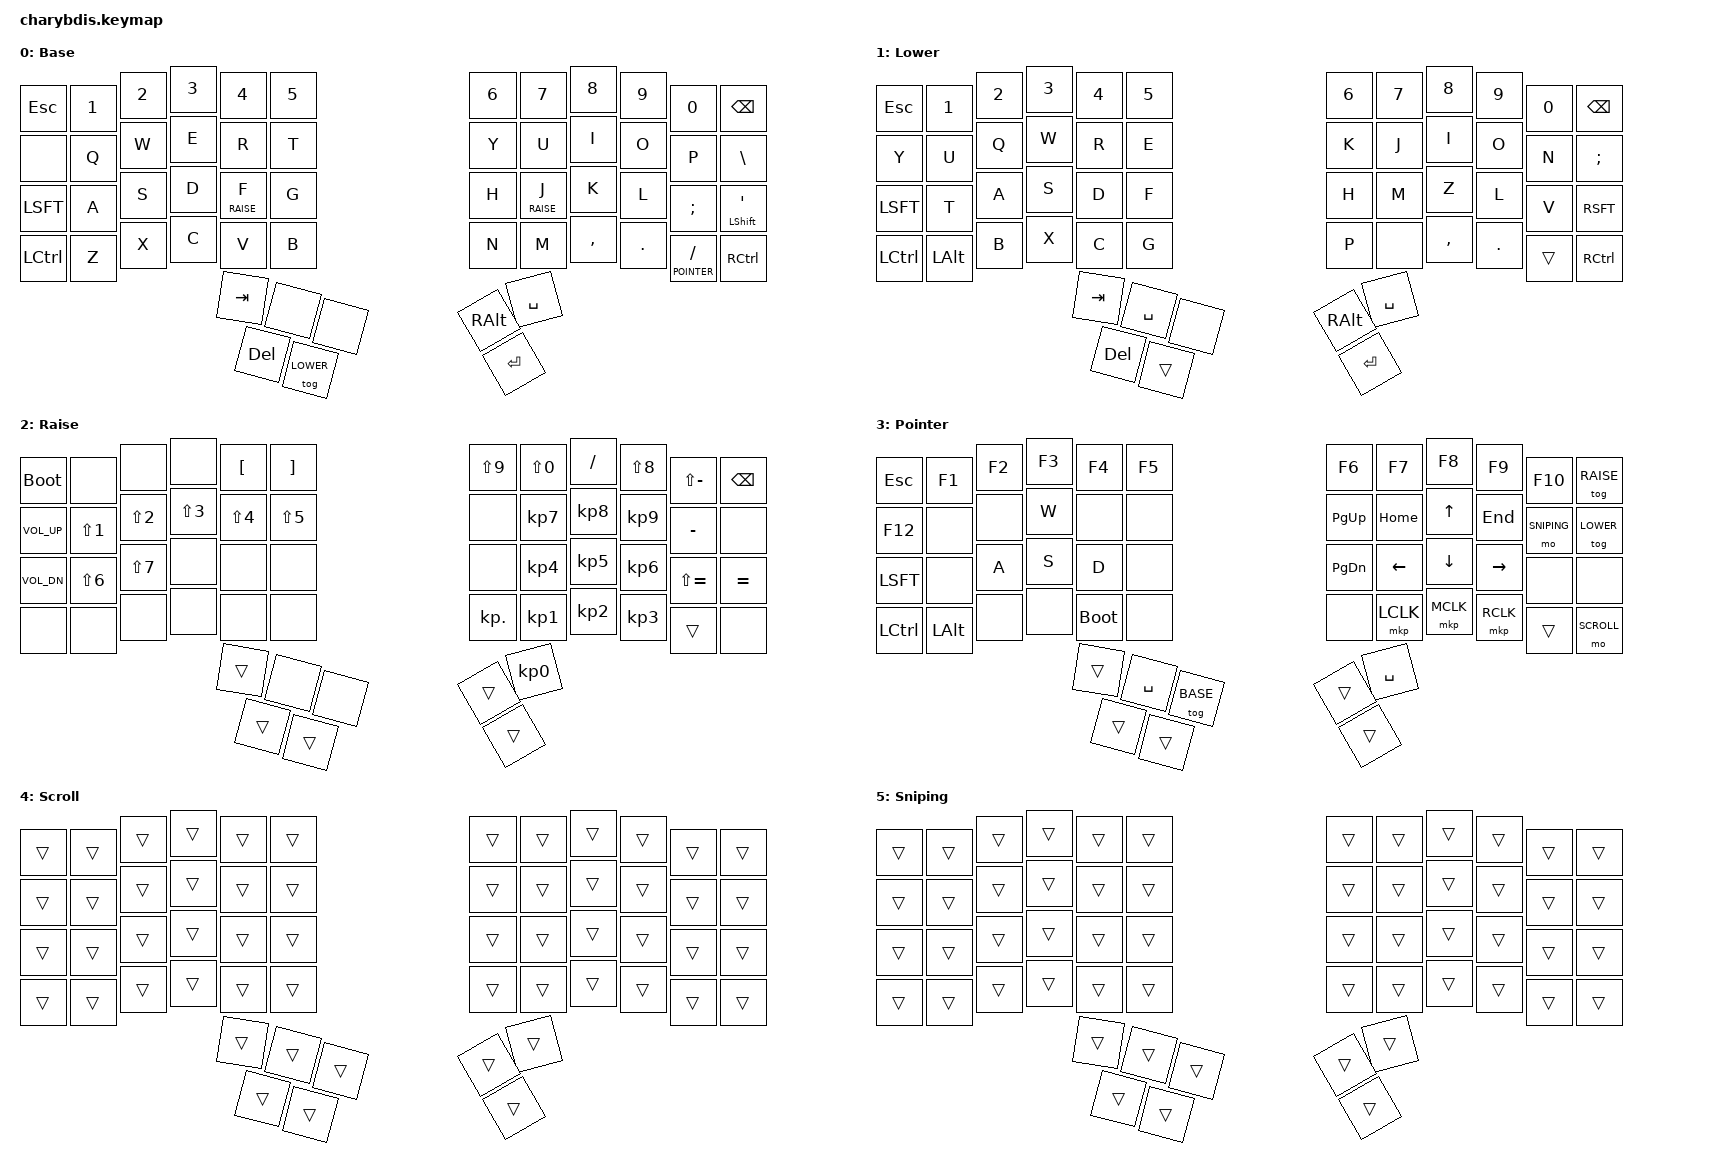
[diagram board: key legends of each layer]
#include <dt-bindings/zmk/mouse.h>
#include <behaviors/mouse_keys.dtsi>
#include <behaviors.dtsi>
#include <dt-bindings/zmk/bt.h>
#include <dt-bindings/zmk/keys.h>
#include <dt-bindings/zmk/outputs.h>
#include <dt-bindings/zmk/pointing.h>

/ {
    chosen { zmk,physical-layout = &charybdis_6col_layout; };
};

// Layer-tap behavior: Tap for key, hold for layer
// Usage: &lt LAYER KEY
// Example: &lt RAISE F = tap for F, hold for RAISE layer
&lt {
    quick-tap-ms = <200>;
    flavor = "tap-preferred";
    tapping-term-ms = <170>;
};

// Mod-tap behavior: Tap for key, hold for modifier
// Usage: &mt MODIFIER KEY
// Example: &mt LSHIFT SQT = tap for quote, hold for left shift
&mt {
    quick-tap-ms = <200>;
    flavor = "tap-preferred";
    tapping-term-ms = <170>;
};

// Layer definitions
#define BASE 0
#define LOWER 1
#define RAISE 2
#define POINTER 3
#define SCROLL 4
#define SNIPING 5

/ {
  combos {
    compatible = "zmk,combos";
    timeout-ms = <20>;
    require-prior-idle-ms = <250>;

    // Studio Unlock Combo - all three right thumb keys
    combo_studio_unlock {
      timeout-ms = <50>;
      key-positions = <53 54 55>;
      bindings = <&studio_unlock>;
    };
  };

  keymap {
    compatible = "zmk,keymap";

// ╭─────────────┬─────────────┬─────────────┬─────────────┬─────────────┬─────────────╮   ╭─────────────┬─────────────┬─────────────┬─────────────┬─────────────┬─────────────╮
//    0             1             2             3             4             5                 6             7             8             9            10            11
// ├─────────────┼─────────────┼─────────────┼─────────────┼─────────────┼─────────────┤   ├─────────────┼─────────────┼─────────────┼─────────────┼─────────────┼─────────────┤
//   12            13            14            15            16            17                18            19            20            21            22            23
// ├─────────────┼─────────────┼─────────────┼─────────────┼─────────────┼─────────────┤   ├─────────────┼─────────────┼─────────────┼─────────────┼─────────────┼─────────────┤
//   24            25            26            27            28            29                30            31            32            33            34            35
// ├─────────────┼─────────────┼─────────────┼─────────────┼─────────────┼─────────────┤   ├─────────────┼─────────────┼─────────────┼─────────────┼─────────────┼─────────────┤
//   36            37            38            39            40            41                42            43            44            45            46            47
// ╰─────────────┴─────────────┴─────────────┴─────────────┴─────────────┴─────────────╯   ╰─────────────┴─────────────┴─────────────┴─────────────┴─────────────┴─────────────╯
//               ╭─────────────┬─────────────┬─────────────┬─────────────┬─────────────╮   ╭─────────────┬─────────────┬─────────────╮
//                  48            49            50            51            52                53            54            55
//               ╰─────────────┴─────────────┴─────────────┴─────────────┴─────────────╯   ╰─────────────┴─────────────┴─────────────╯
//                                                                         Actual Key Positions
//                                          ╭─────────────┬─────────────┬─────────────╮    ╭─────────────┬─────────────╮
//                                             50           51            48                 55            54
//                                          ╰─────────────┼─────────────┼─────────────┤    ├─────────────┼─────────────╯
//                                                          52            49                 53
//                                                        ╰─────────────┴─────────────╯    ╰─────────────╯

    base_layer {
      label = "BASE";
      display-name = "Base";
      bindings = <
// ╭─────────────┬─────────────┬─────────────┬─────────────┬─────────────┬─────────────╮   ╭─────────────┬─────────────┬─────────────┬─────────────┬─────────────┬─────────────╮
    &kp ESC       &kp N1        &kp N2        &kp N3        &kp N4        &kp N5            &kp N6        &kp N7        &kp N8        &kp N9        &kp N0        &kp BSPC
// ├─────────────┼─────────────┼─────────────┼─────────────┼─────────────┼─────────────┤   ├─────────────┼─────────────┼─────────────┼─────────────┼─────────────┼─────────────┤
    &none         &kp Q         &kp W         &kp E         &kp R         &kp T             &kp Y         &kp U         &kp I         &kp O         &kp P         &kp BSLH
// ├─────────────┼─────────────┼─────────────┼─────────────┼─────────────┼─────────────┤   ├─────────────┼─────────────┼─────────────┼─────────────┼─────────────┼─────────────┤
//                                                            F/RAISE                                       J/RAISE                                                 '/Shift
    &kp LSFT      &kp A         &kp S         &kp D         &lt RAISE F   &kp G             &kp H         &lt RAISE J   &kp K         &kp L         &kp SEMI      &mt LSHIFT SQT
// ├─────────────┼─────────────┼─────────────┼─────────────┼─────────────┼─────────────┤   ├─────────────┼─────────────┼─────────────┼─────────────┼─────────────┼─────────────┤
//                                                                                                                                                     //POINTER
    &kp LCTRL     &kp Z         &kp X         &kp C         &kp V         &kp B             &kp N         &kp M         &kp COMMA     &kp DOT       &lt POINTER FSLH &kp RCTRL
// ╰─────────────┴─────────────┴─────────────┴─────────────┴─────────────┴─────────────╯   ╰─────────────┴─────────────┴─────────────┴─────────────┴─────────────┴─────────────╯
//               ╭─────────────┬─────────────┬─────────────┬─────────────┬─────────────╮   ╭─────────────┬─────────────┬─────────────╮
                  &none         &tog LOWER    &kp TAB       &none         &kp DEL           &kp RET       &kp SPACE     &kp RALT
//               ╰─────────────┴─────────────┴─────────────┴─────────────┴─────────────╯   ╰─────────────┴─────────────┴─────────────╯
      >;
    };

    lower_layer {
      label = "LOWER";
      display-name = "Lower";
      bindings = <
// ╭─────────────┬─────────────┬─────────────┬─────────────┬─────────────┬─────────────╮   ╭─────────────┬─────────────┬─────────────┬─────────────┬─────────────┬─────────────╮
    &kp ESC       &kp N1        &kp N2        &kp N3        &kp N4        &kp N5            &kp N6        &kp N7        &kp N8        &kp N9        &kp N0        &kp BSPC
// ├─────────────┼─────────────┼─────────────┼─────────────┼─────────────┼─────────────┤   ├─────────────┼─────────────┼─────────────┼─────────────┼─────────────┼─────────────┤
    &kp Y         &kp U         &kp Q         &kp W         &kp R         &kp E             &kp K         &kp J         &kp I         &kp O         &kp N         &kp SEMI
// ├─────────────┼─────────────┼─────────────┼─────────────┼─────────────┼─────────────┤   ├─────────────┼─────────────┼─────────────┼─────────────┼─────────────┼─────────────┤
    &kp LSFT      &kp T         &kp A         &kp S         &kp D         &kp F             &kp H         &kp M         &kp Z         &kp L         &kp V         &kp RSFT
// ├─────────────┼─────────────┼─────────────┼─────────────┼─────────────┼─────────────┤   ├─────────────┼─────────────┼─────────────┼─────────────┼─────────────┼─────────────┤
    &kp LCTRL     &kp LALT      &kp B         &kp X         &kp C         &kp G             &kp P         &none         &kp COMMA     &kp DOT       &trans        &kp RCTRL
// ╰─────────────┴─────────────┴─────────────┴─────────────┴─────────────┴─────────────╯   ╰─────────────┴─────────────┴─────────────┴─────────────┴─────────────┴─────────────╯
//               ╭─────────────┬─────────────┬─────────────┬─────────────┬─────────────╮   ╭─────────────┬─────────────┬─────────────╮
                  &none         &trans        &kp TAB       &kp SPACE     &kp DEL           &kp RET       &kp SPACE     &kp RALT
//               ╰─────────────┴─────────────┴─────────────┴─────────────┴─────────────╯   ╰─────────────┴─────────────┴─────────────╯
      >;
    };

    raise_layer {
      label = "RAISE";
      display-name = "Raise";
      bindings = <
// ╭─────────────┬─────────────┬─────────────┬─────────────┬─────────────┬─────────────╮   ╭─────────────┬─────────────┬─────────────┬─────────────┬─────────────┬─────────────╮
    &bootloader   &none         &none         &none         &kp LBKT      &kp RBKT          &kp LS(N9)    &kp LS(N0)    &kp FSLH      &kp LS(N8)    &kp LS(MINUS) &kp BSPC
// ├─────────────┼─────────────┼─────────────┼─────────────┼─────────────┼─────────────┤   ├─────────────┼─────────────┼─────────────┼─────────────┼─────────────┼─────────────┤
    &kp C_VOL_UP  &kp LS(N1)    &kp LS(N2)    &kp LS(N3)    &kp LS(N4)    &kp LS(N5)        &none         &kp KP_N7     &kp KP_N8     &kp KP_N9     &kp MINUS     &none
// ├─────────────┼─────────────┼─────────────┼─────────────┼─────────────┼─────────────┤   ├─────────────┼─────────────┼─────────────┼─────────────┼─────────────┼─────────────┤
    &kp C_VOL_DN  &kp LS(N6)    &kp LS(N7)    &none         &none         &none             &none         &kp KP_N4     &kp KP_N5     &kp KP_N6     &kp LS(EQUAL) &kp EQUAL
// ├─────────────┼─────────────┼─────────────┼─────────────┼─────────────┼─────────────┤   ├─────────────┼─────────────┼─────────────┼─────────────┼─────────────┼─────────────┤
    &none         &none         &none         &none         &none         &none             &kp KP_DOT    &kp KP_N1     &kp KP_N2     &kp KP_N3     &trans        &none
// ╰─────────────┴─────────────┴─────────────┴─────────────┴─────────────┴─────────────╯   ╰─────────────┴─────────────┴─────────────┴─────────────┴─────────────┴─────────────╯
//               ╭─────────────┬─────────────┬─────────────┬─────────────┬─────────────╮   ╭─────────────┬─────────────┬─────────────╮
                  &none         &trans        &trans        &none         &trans            &trans        &kp KP_N0     &trans
//               ╰─────────────┴─────────────┴─────────────┴─────────────┴─────────────╯   ╰─────────────┴─────────────┴─────────────╯
      >;
    };

    pointer_layer {
      label = "POINTER";
      display-name = "Pointer";
      bindings = <
// ╭─────────────┬─────────────┬─────────────┬─────────────┬─────────────┬─────────────╮   ╭─────────────┬─────────────┬─────────────┬─────────────┬─────────────┬─────────────╮
    &kp ESC       &kp F1        &kp F2        &kp F3        &kp F4        &kp F5            &kp F6        &kp F7        &kp F8        &kp F9        &kp F10       &tog RAISE
// ├─────────────┼─────────────┼─────────────┼─────────────┼─────────────┼─────────────┤   ├─────────────┼─────────────┼─────────────┼─────────────┼─────────────┼─────────────┤
//                                                                                                                                                     DPI_MOD (Sniping)
    &kp F12       &none         &none         &kp W         &none         &none             &kp PG_UP     &kp HOME      &kp UP        &kp END       &mo SNIPING   &tog LOWER
// ├─────────────┼─────────────┼─────────────┼─────────────┼─────────────┼─────────────┤   ├─────────────┼─────────────┼─────────────┼─────────────┼─────────────┼─────────────┤
//                                                                                                                                                     DPI_RMOD
    &kp LSFT      &none         &kp A         &kp S         &kp D         &none             &kp PG_DN     &kp LEFT      &kp DOWN      &kp RIGHT     &none         &none
// ├─────────────┼─────────────┼─────────────┼─────────────┼─────────────┼─────────────┤   ├─────────────┼─────────────┼─────────────┼─────────────┼─────────────┼─────────────┤
//                                                                                                                                                                   DRGSCRL
    &kp LCTRL     &kp LALT      &none         &none         &bootloader   &none             &none         &mkp LCLK     &mkp MCLK     &mkp RCLK     &trans        &mo SCROLL
// ╰─────────────┴─────────────┴─────────────┴─────────────┴─────────────┴─────────────╯   ╰─────────────┴─────────────┴─────────────┴─────────────┴─────────────┴─────────────╯
//               ╭─────────────┬─────────────┬─────────────┬─────────────┬─────────────╮   ╭─────────────┬─────────────┬─────────────╮
                  &tog BASE     &trans        &trans        &kp SPACE     &trans            &trans        &kp SPACE     &trans
//               ╰─────────────┴─────────────┴─────────────┴─────────────┴─────────────╯   ╰─────────────┴─────────────┴─────────────╯
      >;
    };

    scroll_layer {
      label = "SCROLL";
      display-name = "Scroll";
      bindings = <
// ╭─────────────┬─────────────┬─────────────┬─────────────┬─────────────┬─────────────╮   ╭─────────────┬─────────────┬─────────────┬─────────────┬─────────────┬─────────────╮
    &trans        &trans        &trans        &trans        &trans        &trans            &trans        &trans        &trans        &trans        &trans        &trans
// ├─────────────┼─────────────┼─────────────┼─────────────┼─────────────┼─────────────┤   ├─────────────┼─────────────┼─────────────┼─────────────┼─────────────┼─────────────┤
    &trans        &trans        &trans        &trans        &trans        &trans            &trans        &trans        &trans        &trans        &trans        &trans
// ├─────────────┼─────────────┼─────────────┼─────────────┼─────────────┼─────────────┤   ├─────────────┼─────────────┼─────────────┼─────────────┼─────────────┼─────────────┤
    &trans        &trans        &trans        &trans        &trans        &trans            &trans        &trans        &trans        &trans        &trans        &trans
// ├─────────────┼─────────────┼─────────────┼─────────────┼─────────────┼─────────────┤   ├─────────────┼─────────────┼─────────────┼─────────────┼─────────────┼─────────────┤
    &trans        &trans        &trans        &trans        &trans        &trans            &trans        &trans        &trans        &trans        &trans        &trans
// ╰─────────────┴─────────────┴─────────────┴─────────────┴─────────────┴─────────────╯   ╰─────────────┴─────────────┴─────────────┴─────────────┴─────────────┴─────────────╯
//               ╭─────────────┬─────────────┬─────────────┬─────────────┬─────────────╮   ╭─────────────┬─────────────┬─────────────╮
                  &trans        &trans        &trans        &trans        &trans            &trans        &trans        &trans
//               ╰─────────────┴─────────────┴─────────────┴─────────────┴─────────────╯   ╰─────────────┴─────────────┴─────────────╯
      >;
    };

    sniping_layer {
      label = "SNIPING";
      display-name = "Sniping";
      bindings = <
// ╭─────────────┬─────────────┬─────────────┬─────────────┬─────────────┬─────────────╮   ╭─────────────┬─────────────┬─────────────┬─────────────┬─────────────┬─────────────╮
    &trans        &trans        &trans        &trans        &trans        &trans            &trans        &trans        &trans        &trans        &trans        &trans
// ├─────────────┼─────────────┼─────────────┼─────────────┼─────────────┼─────────────┤   ├─────────────┼─────────────┼─────────────┼─────────────┼─────────────┼─────────────┤
    &trans        &trans        &trans        &trans        &trans        &trans            &trans        &trans        &trans        &trans        &trans        &trans
// ├─────────────┼─────────────┼─────────────┼─────────────┼─────────────┼─────────────┤   ├─────────────┼─────────────┼─────────────┼─────────────┼─────────────┼─────────────┤
    &trans        &trans        &trans        &trans        &trans        &trans            &trans        &trans        &trans        &trans        &trans        &trans
// ├─────────────┼─────────────┼─────────────┼─────────────┼─────────────┼─────────────┤   ├─────────────┼─────────────┼─────────────┼─────────────┼─────────────┼─────────────┤
    &trans        &trans        &trans        &trans        &trans        &trans            &trans        &trans        &trans        &trans        &trans        &trans
// ╰─────────────┴─────────────┴─────────────┴─────────────┴─────────────┴─────────────╯   ╰─────────────┴─────────────┴─────────────┴─────────────┴─────────────┴─────────────╯
//               ╭─────────────┬─────────────┬─────────────┬─────────────┬─────────────╮   ╭─────────────┬─────────────┬─────────────╮
                  &trans        &trans        &trans        &trans        &trans            &trans        &trans        &trans
//               ╰─────────────┴─────────────┴─────────────┴─────────────┴─────────────╯   ╰─────────────┴─────────────┴─────────────╯
      >;
    };
  };
};
